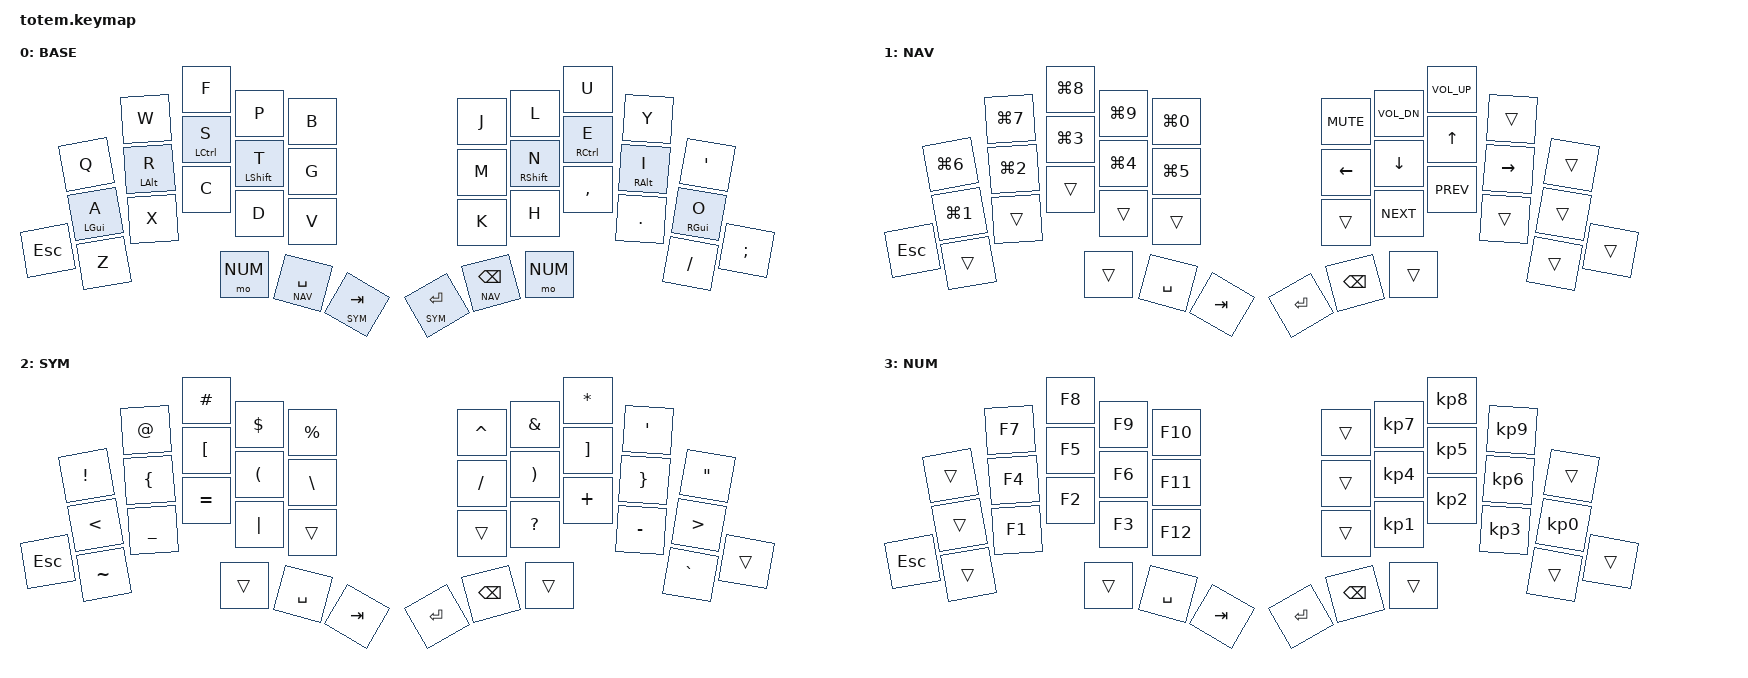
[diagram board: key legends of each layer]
//
//                                                        ▀▀▀▀▀     ▀▀▀▀▀          ▀▀█▀▀
//                                                        ▄▀▀▀▄  ▄  ▄▀▀▀▄  ▄  ▄▀▀▀▄  █  ▄▀▀▀▄
//                                                        █   █  █  █   █  █  █   █  █  █   █
//                                                         ▀▀▀   █   ▀▀▀   █   ▀▀▀   ▀   ▀▀▀
//                                                               █      ▄▄▄█▄▄▄    █   █  
//                                                               ▀      █  █  █     █▄█
//                                                             ▀▀▀▀▀    █  █  █      ▀
//                                                                      ▀  ▀  ▀
//
// ▄▄▄▄▄▄▄▄▄▄▄▄▄▄▄▄▄▄▄▄▄▄▄▄▄▄▄▄▄▄▄▄▄▄▄▄▄▄▄▄▄▄▄▄▄▄▄▄▄▄▄▄▄▄▄▄▄▄▄▄▄▄▄▄▄▄▄▄▄▄▄▄▄▄▄▄▄▄▄▄▄▄▄▄▄▄▄▄▄▄▄▄▄▄▄▄▄▄▄▄▄▄▄▄▄▄▄▄▄▄▄▄▄▄▄▄▄▄▄▄▄▄▄▄▄▄▄▄▄▄▄▄▄▄▄▄▄▄▄▄▄▄▄▄▄▄▄▄▄

#include <behaviors.dtsi>
#include <dt-bindings/zmk/keys.h>

#define BASE 0
#define NAV  1
#define SYM  2
#define NUM  3

&mt {
    quick-tap-ms = <175>;
    global-quick-tap;
    flavor = "balanced";
    require-prior-idle-ms = <150>;
    tapping-term-ms = <280>;
    hold-trigger-on-release;             // delay positional check until key-release
};

/ {
    combos {
        compatible = "zmk,combos";

        combo_esc {
            timeout-ms = <50>;
            key-positions = <0 1>;
            bindings = <&kp ESC>;
        };
    };

    keymap {
        compatible = "zmk,keymap";

        // ▄▄▄▄▄▄▄▄▄▄▄▄▄▄▄▄▄▄▄▄▄▄▄▄▄▄▄▄▄▄▄▄▄▄▄▄▄▄▄▄▄▄▄▄▄▄▄▄▄▄▄▄▄▄▄▄▄▄▄▄▄▄▄▄▄▄▄▄▄▄▄▄▄▄▄▄▄▄▄▄▄▄▄▄▄▄▄▄▄▄▄▄▄▄▄▄▄▄▄▄▄▄▄▄▄▄▄▄▄▄▄▄▄▄▄▄▄▄▄▄▄▄▄▄▄▄▄▄▄▄▄▄▄▄▄▄▄▄▄▄▄▄▄▄▄▄▄▄▄

        base_layer {
            // ┏━━━━━━━━━━━━━━━━━━━━━━━━━━━━━━━━━━━━━━━┓

            label = "BASE";

            // ┗━━━━━━━━━━━━━━━━━━━━━━━━━━━━━━━━━━━━━━━┛
            //             ┏━━━━━━━━━━━┳━━━━━━━━━━━┳━━━━━━━━━━━┳━━━━━━━━━━━┳━━━━━━━━━━━┓   ┏━━━━━━━━━━━┳━━━━━━━━━━━┳━━━━━━━━━━━┳━━━━━━━━━━━┳━━━━━━━━━━━┓
            //             ┃     Q     ┃     W     ┃     F     ┃     P     ┃     B     ┃   ┃     J     ┃     L     ┃     U     ┃     Y     ┃     '     ┃
            //             ┣━━━━━━━━━━━╋━━━━━━━━━━━╋━━━━━━━━━━━╋━━━━━━━━━━━╋━━━━━━━━━━━┫   ┣━━━━━━━━━━━╋━━━━━━━━━━━╋━━━━━━━━━━━╋━━━━━━━━━━━╋━━━━━━━━━━━┫
            //             ┃     A     ┃     R     ┃     S     ┃     T     ┃     G     ┃   ┃     M     ┃     N     ┃     E     ┃     I     ┃     O     ┃
            // ┏━━━━━━━━━━━╋━━━━━━━━━━━╋━━━━━━━━━━━╋━━━━━━━━━━━╋━━━━━━━━━━━╋━━━━━━━━━━━┫   ┣━━━━━━━━━━━╋━━━━━━━━━━━╋━━━━━━━━━━━╋━━━━━━━━━━━╋━━━━━━━━━━━╋━━━━━━━━━━━┓
            // ┃     ESC   ┃     Z     ┃     X     ┃     C     ┃     D     ┃     V     ┃   ┃     K     ┃     H     ┃     ,     ┃     .     ┃     /     ┃     ;     ┃
            // ┗━━━━━━━━━━━┻━━━━━━━━━━━┻━━━━━━━━━━━╋━━━━━━━━━━━╋━━━━━━━━━━━╋━━━━━━━━━━━┫   ┣━━━━━━━━━━━╋━━━━━━━━━━━╋━━━━━━━━━━━╋━━━━━━━━━━━┻━━━━━━━━━━━┻━━━━━━━━━━━┛
            //                                     ┃           ┃    SPC    ┃    TAB    ┃   ┃   ENTER   ┃    BSPC   ┃           ┃
            //                                     ┗━━━━━━━━━━━┻━━━━━━━━━━━┻━━━━━━━━━━━┛   ┗━━━━━━━━━━━┻━━━━━━━━━━━┻━━━━━━━━━━━┛

            bindings = <
            &kp Q       &kp W       &kp F        &kp P          &kp B          &kp J        &kp L         &kp U        &kp Y       &kp SQT
            &mt LGUI A  &mt LALT R  &mt LCTRL S  &mt LSHFT T    &kp G          &kp M        &mt RSHFT N   &mt RCTRL E  &mt RALT I  &mt RGUI O
&kp ESCAPE  &kp Z       &kp X       &kp C        &kp D          &kp V          &kp K        &kp H         &kp COMMA    &kp DOT     &kp FSLH    &kp SEMI
                                    &mo NUM      &lt NAV SPACE  &lt SYM TAB    &lt SYM RET  &lt NAV BSPC  &mo NUM
            >;
        };

        // ▄▄▄▄▄▄▄▄▄▄▄▄▄▄▄▄▄▄▄▄▄▄▄▄▄▄▄▄▄▄▄▄▄▄▄▄▄▄▄▄▄▄▄▄▄▄▄▄▄▄▄▄▄▄▄▄▄▄▄▄▄▄▄▄▄▄▄▄▄▄▄▄▄▄▄▄▄▄▄▄▄▄▄▄▄▄▄▄▄▄▄▄▄▄▄▄▄▄▄▄▄▄▄▄▄▄▄▄▄▄▄▄▄▄▄▄▄▄▄▄▄▄▄▄▄▄▄▄▄▄▄▄▄▄▄▄▄▄▄▄▄▄▄▄▄▄▄▄▄

        nav_layer {
            // ┏━━━━━━━━━━━━━━━━━━━━━━━━━━━━━━━━━━━━━━━┓

            label = "NAV";

            // ┗━━━━━━━━━━━━━━━━━━━━━━━━━━━━━━━━━━━━━━━┛
            //             ┏━━━━━━━━━━━┳━━━━━━━━━━━┳━━━━━━━━━━━┳━━━━━━━━━━━┳━━━━━━━━━━━┓   ┏━━━━━━━━━━━┳━━━━━━━━━━━┳━━━━━━━━━━━┳━━━━━━━━━━━┳━━━━━━━━━━━┓
            //             ┃ Desktop 1 ┃ Desktop 2 ┃ Desktop 3 ┃ Desktop 4 ┃ Desktop 5 ┃   ┃   MUTE    ┃   VOL-    ┃    VOL+   ┃           ┃           ┃
            //             ┣━━━━━━━━━━━╋━━━━━━━━━━━╋━━━━━━━━━━━╋━━━━━━━━━━━╋━━━━━━━━━━━┫   ┣━━━━━━━━━━━╋━━━━━━━━━━━╋━━━━━━━━━━━╋━━━━━━━━━━━╋━━━━━━━━━━━┫
            //             ┃ Desktop 6 ┃ Desktop 7 ┃ Desktop 8 ┃ Desktop 9 ┃ Desktop 10┃   ┃   LEFT    ┃   DOWN    ┃    UP     ┃   RIGHT   ┃           ┃
            // ┏━━━━━━━━━━━╋━━━━━━━━━━━╋━━━━━━━━━━━╋━━━━━━━━━━━╋━━━━━━━━━━━╋━━━━━━━━━━━┫   ┣━━━━━━━━━━━╋━━━━━━━━━━━╋━━━━━━━━━━━╋━━━━━━━━━━━╋━━━━━━━━━━━╋━━━━━━━━━━━┓
            // ┃           ┃           ┃           ┃           ┃           ┃           ┃   ┃           ┃   NEXT    ┃    PREV   ┃           ┃           ┃           ┃
            // ┗━━━━━━━━━━━┻━━━━━━━━━━━┻━━━━━━━━━━━╋━━━━━━━━━━━╋━━━━━━━━━━━╋━━━━━━━━━━━┫   ┣━━━━━━━━━━━╋━━━━━━━━━━━╋━━━━━━━━━━━╋━━━━━━━━━━━┻━━━━━━━━━━━┻━━━━━━━━━━━┛
            //                                     ┃           ┃    SPC    ┃    TAB    ┃   ┃   ENTER   ┃   BSPC    ┃           ┃
            //                                     ┗━━━━━━━━━━━┻━━━━━━━━━━━┻━━━━━━━━━━━┛   ┗━━━━━━━━━━━┻━━━━━━━━━━━┻━━━━━━━━━━━┛

            bindings = <
         &kp LG(N6)  &kp LG(N7)  &kp LG(N8)  &kp LG(N9)  &kp LG(N0)    &kp K_MUTE  &kp K_VOL_DN  &kp K_VOL_UP  &trans     &trans
         &kp LG(N1)  &kp LG(N2)  &kp LG(N3)  &kp LG(N4)  &kp LG(N5)    &kp LEFT    &kp DOWN      &kp UP        &kp RIGHT  &trans
&kp ESC  &trans      &trans      &trans      &trans      &trans        &trans      &kp K_NEXT    &kp K_PREV    &trans     &trans  &trans
                                 &trans      &kp SPACE   &kp TAB       &kp RET     &kp BSPC      &trans
            >;
        };

        // ▄▄▄▄▄▄▄▄▄▄▄▄▄▄▄▄▄▄▄▄▄▄▄▄▄▄▄▄▄▄▄▄▄▄▄▄▄▄▄▄▄▄▄▄▄▄▄▄▄▄▄▄▄▄▄▄▄▄▄▄▄▄▄▄▄▄▄▄▄▄▄▄▄▄▄▄▄▄▄▄▄▄▄▄▄▄▄▄▄▄▄▄▄▄▄▄▄▄▄▄▄▄▄▄▄▄▄▄▄▄▄▄▄▄▄▄▄▄▄▄▄▄▄▄▄▄▄▄▄▄▄▄▄▄▄▄▄▄▄▄▄▄▄▄▄▄▄▄▄

        sim_layer {
            // ┏━━━━━━━━━━━━━━━━━━━━━━━━━━━━━━━━━━━━━━━┓

            label = "SYM";

            // ┗━━━━━━━━━━━━━━━━━━━━━━━━━━━━━━━━━━━━━━━┛
            //             ┏━━━━━━━━━━━┳━━━━━━━━━━━┳━━━━━━━━━━━┳━━━━━━━━━━━┳━━━━━━━━━━━┓   ┏━━━━━━━━━━━┳━━━━━━━━━━━┳━━━━━━━━━━━┳━━━━━━━━━━━┳━━━━━━━━━━━┓
            //             ┃     !     ┃     @     ┃     #     ┃     $     ┃     %     ┃   ┃     ˆ     ┃     &     ┃     *     ┃     '     ┃     "     ┃
            //             ┣━━━━━━━━━━━╋━━━━━━━━━━━╋━━━━━━━━━━━╋━━━━━━━━━━━╋━━━━━━━━━━━┫   ┣━━━━━━━━━━━╋━━━━━━━━━━━╋━━━━━━━━━━━╋━━━━━━━━━━━╋━━━━━━━━━━━┫
            //             ┃     <     ┃     {     ┃     [     ┃     (     ┃     \     ┃   ┃     /     ┃     )     ┃     ]     ┃     }     ┃     >     ┃
            // ┏━━━━━━━━━━━╋━━━━━━━━━━━╋━━━━━━━━━━━╋━━━━━━━━━━━╋━━━━━━━━━━━╋━━━━━━━━━━━┫   ┣━━━━━━━━━━━╋━━━━━━━━━━━╋━━━━━━━━━━━╋━━━━━━━━━━━╋━━━━━━━━━━━╋━━━━━━━━━━━┓
            // ┃           ┃     ~     ┃     -     ┃     =     ┃     |     ┃           ┃   ┃           ┃     ?     ┃     +     ┃     _     ┃     `     ┃           ┃
            // ┗━━━━━━━━━━━┻━━━━━━━━━━━┻━━━━━━━━━━━╋━━━━━━━━━━━╋━━━━━━━━━━━╋━━━━━━━━━━━┫   ┣━━━━━━━━━━━╋━━━━━━━━━━━╋━━━━━━━━━━━╋━━━━━━━━━━━┻━━━━━━━━━━━┻━━━━━━━━━━━┛
            //                                    ┃           ┃    SPC    ┃    TAB    ┃   ┃   ENTER   ┃    BSPC   ┃           ┃
            //                                     ┗━━━━━━━━━━━┻━━━━━━━━━━━┻━━━━━━━━━━━┛   ┗━━━━━━━━━━━┻━━━━━━━━━━━┻━━━━━━━━━━━┛

            bindings = <
         &kp EXCL   &kp AT     &kp HASH   &kp DLLR   &kp PRCNT    &kp CARET  &kp AMPS   &kp ASTRK  &kp SQT    &kp DQT
         &kp LT     &kp LBRC   &kp LBKT   &kp LPAR   &kp BSLH     &kp FSLH   &kp RPAR   &kp RBKT   &kp RBRC   &kp GT
&kp ESC  &kp TILDE  &kp UNDER  &kp EQUAL  &kp PIPE   &trans       &trans     &kp QMARK  &kp PLUS   &kp MINUS  &kp GRAVE  &trans
                               &trans     &kp SPACE  &kp TAB      &kp RET    &kp BSPC   &trans
            >;
        };

        // ▄▄▄▄▄▄▄▄▄▄▄▄▄▄▄▄▄▄▄▄▄▄▄▄▄▄▄▄▄▄▄▄▄▄▄▄▄▄▄▄▄▄▄▄▄▄▄▄▄▄▄▄▄▄▄▄▄▄▄▄▄▄▄▄▄▄▄▄▄▄▄▄▄▄▄▄▄▄▄▄▄▄▄▄▄▄▄▄▄▄▄▄▄▄▄▄▄▄▄▄▄▄▄▄▄▄▄▄▄▄▄▄▄▄▄▄▄▄▄▄▄▄▄▄▄▄▄▄▄▄▄▄▄▄▄▄▄▄▄▄▄▄▄▄▄▄▄▄▄

        num_layer {
            // ┏━━━━━━━━━━━━━━━━━━━━━━━━━━━━━━━━━━━━━━━┓

            label = "NUM";

            // ┗━━━━━━━━━━━━━━━━━━━━━━━━━━━━━━━━━━━━━━━┛
            //             ┏━━━━━━━━━━━┳━━━━━━━━━━━┳━━━━━━━━━━━┳━━━━━━━━━━━┳━━━━━━━━━━━┓   ┏━━━━━━━━━━━┳━━━━━━━━━━━┳━━━━━━━━━━━┳━━━━━━━━━━━┳━━━━━━━━━━━┓
            //             ┃           ┃     F7    ┃    F8     ┃    F9     ┃    F10    ┃   ┃           ┃     7     ┃     8     ┃     9     ┃           ┃
            //             ┣━━━━━━━━━━━╋━━━━━━━━━━━╋━━━━━━━━━━━╋━━━━━━━━━━━╋━━━━━━━━━━━┫   ┣━━━━━━━━━━━╋━━━━━━━━━━━╋━━━━━━━━━━━╋━━━━━━━━━━━╋━━━━━━━━━━━┫
            //             ┃           ┃     F4    ┃    F5     ┃    F6     ┃    F11    ┃   ┃           ┃     4     ┃     5     ┃     6     ┃     0     ┃
            // ┏━━━━━━━━━━━╋━━━━━━━━━━━╋━━━━━━━━━━━╋━━━━━━━━━━━╋━━━━━━━━━━━╋━━━━━━━━━━━┫   ┣━━━━━━━━━━━╋━━━━━━━━━━━╋━━━━━━━━━━━╋━━━━━━━━━━━╋━━━━━━━━━━━╋━━━━━━━━━━━┓
            // ┃   BT PREV ┃  BT NEXT  ┃     F1    ┃    F2     ┃    F3     ┃    F12    ┃   ┃           ┃     1     ┃     2     ┃     3     ┃           ┃           ┃
            // ┗━━━━━━━━━━━┻━━━━━━━━━━━┻━━━━━━━━━━━╋━━━━━━━━━━━╋━━━━━━━━━━━╋━━━━━━━━━━━┫   ┣━━━━━━━━━━━╋━━━━━━━━━━━╋━━━━━━━━━━━╋━━━━━━━━━━━┻━━━━━━━━━━━┻━━━━━━━━━━━┛
            //                                     ┃           ┃    SPC    ┃    TAB    ┃   ┃   ENTER   ┃    BSPC   ┃           ┃
            //                                     ┗━━━━━━━━━━━┻━━━━━━━━━━━┻━━━━━━━━━━━┛   ┗━━━━━━━━━━━┻━━━━━━━━━━━┻━━━━━━━━━━━┛

            bindings = <
            &trans  &kp F7  &kp F8  &kp F9     &kp F10    &trans   &kp KP_N7  &kp KP_N8  &kp KP_N9  &trans
            &trans  &kp F4  &kp F5  &kp F6     &kp F11    &trans   &kp KP_N4  &kp KP_N5  &kp KP_N6  &kp KP_N0
&kp ESCAPE  &trans  &kp F1  &kp F2  &kp F3     &kp F12    &trans   &kp KP_N1  &kp KP_N2  &kp KP_N3  &trans     &trans
                            &trans  &kp SPACE  &kp TAB    &kp RET  &kp BSPC   &trans
            >;
        };
    };
};
